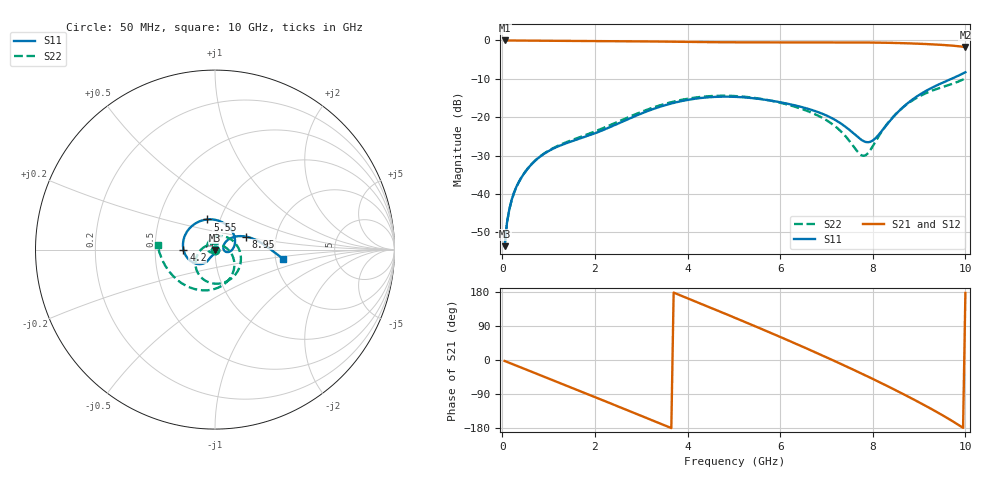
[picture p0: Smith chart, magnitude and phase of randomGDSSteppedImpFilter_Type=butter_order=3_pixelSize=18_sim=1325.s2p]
! freq	dB(S11)	phase(S11)	dB(S12)	phase(S12)
!  dB(S21)	phase(S21)	dB(S22)	phase(S22)
!S-par simulation data
#  GHz  S  DB  R 50
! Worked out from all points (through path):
!   200 points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, 50 MHz to 10 GHz, reference 50 ohm
!   highest |S21| = 0.00 dB at 50 MHz (marker M1); lowest = -1.7 dB at 10 GHz (marker M2)
!   group delay of S21, straight-line fit = 147 ps
!   lowest |S11| = -53.6 dB at 50 MHz (marker M3), VSWR 1.00, Z = 50 - j0.21 ohm
!   |S11| at or under -10 dB: start of sweep to 9.697 GHz
!   |S22| runs from -53.6 to -9.9 dB; largest |S21 - S12| = 0
!   S11 on the Smith chart (normalised r, x): 50 MHz: 1.00, -0.00; 4.2 GHz: 0.70, -0.00; 5.55 GHz: 0.87, +0.30; 8.95 GHz: 1.40, +0.21; 10 GHz: 2.21, -0.28
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0.05  -53.55 -89.2  -0.00 -2.5  -0.00 -2.5  -53.57 -91.5
0.1  -47.55 -91.3  -0.01 -4.9  -0.01 -4.9  -47.58 -95.8
0.2  -41.61 -94.0  -0.02 -9.8  -0.02 -9.8  -41.67 -103.3
0.5  -34.15 -102.5  -0.04 -24.5  -0.04 -24.5  -34.12 -127.1
1.15  -27.88 -116.3  -0.07 -56.2  -0.07 -56.2  -27.72 -179.6
1.75  -25.25 -120.9  -0.11 -85.6  -0.11 -85.6  -24.84 126.3
2.5  -21.64 -124.3  -0.17 -122.5  -0.17 -122.5  -21.15 57.8
2.95  -19.28 -132.7  -0.23 -144.8  -0.23 -144.8  -18.84 22.3
3.4  -17.28 -146.2  -0.29 -167.2  -0.29 -167.2  -16.91 -8.3
3.8  -15.97 -161.7  -0.36 172.9  -0.36 172.9  -15.64 -32.4
4.2  -15.11 -179.6  -0.41 152.9  -0.41 152.9  -14.82 -54.1
5.05  -14.70 135.2  -0.49 110.1  -0.49 110.1  -14.49 -94.2
5.55  -15.23 104.2  -0.50 84.4  -0.50 84.4  -15.14 -114.4
6.1  -16.32 66.8  -0.50 55.6  -0.50 55.6  -16.51 -134.5
6.7  -18.16 25.5  -0.49 23.5  -0.49 23.5  -18.92 -156.7
7.25  -21.14 -5.3  -0.50 -6.9  -0.50 -6.9  -22.99 174.8
7.8  -26.21 -0.8  -0.53 -38.2  -0.53 -38.2  -30.05 88.6
8  -26.05 19.9  -0.55 -49.9  -0.55 -49.9  -27.54 36.8
8.35  -21.24 37.0  -0.62 -70.9  -0.62 -70.9  -21.12 -10.0
8.95  -14.59 22.9  -0.83 -108.4  -0.83 -108.4  -14.94 -61.9
9.55  -10.78 3.3  -1.20 -148.9  -1.20 -148.9  -11.96 -122.5
10  -8.29 -8.0  -1.72 176.9  -1.72 176.9  -9.86 175.0
